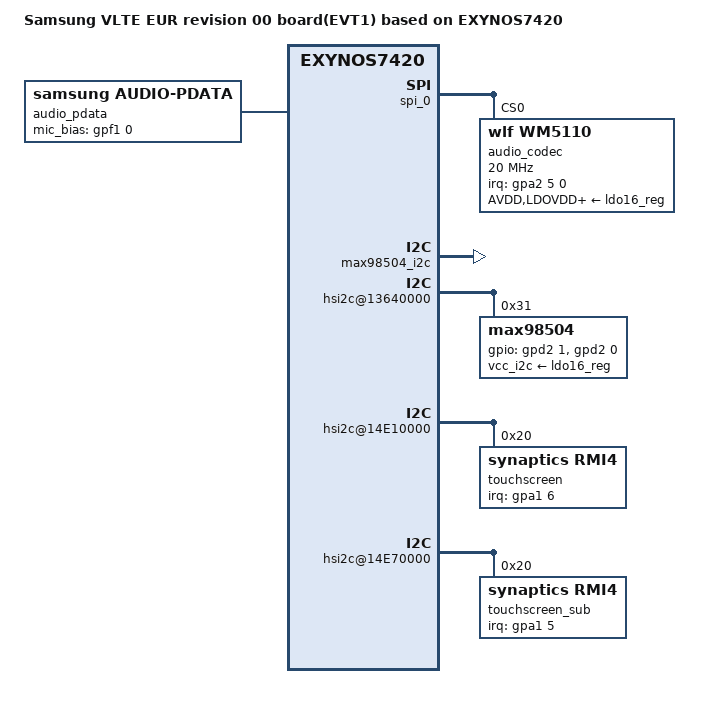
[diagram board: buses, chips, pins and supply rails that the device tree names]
/*
 * SAMSUNG UNIVERSAL7420 board device tree source
 *
 * Copyright (c) 2014 Samsung Electronics Co., Ltd.
 *		http://www.samsung.com
 *
 * This program is free software; you can redistribute it and/or modify
 * it under the terms of the GNU General Public License version 2 as
 * published by the Free Software Foundation.
*/

/dts-v1/;
#include "exynos7420-v_common.dtsi"
#include "exynos7420-zerolte_battery.dtsi"
/ {
	model = "Samsung VLTE EUR revision 00 board(EVT1) based on EXYNOS7420";
	model_info-chip = <7420>;
	model_info-platform = "android";
	model_info-subtype = "samsung";
	model_info-hw_rev = <0>;
	model_info-hw_rev_end = <255>;
	compatible = "samsung,V LTE EVT1 EUR,r00", "samsung,exynos7420";

	spi_0: spi@14d20000 {
		/delete-property/ dma-mode;
		/delete-property/ dmas;
		/delete-property/ dma-names;

		num-cs = <1>;
		status = "okay";

		audio_codec: wm5110@0 {
			compatible = "wlf,wm5110";
			reg = <0x0>;
			spi-max-frequency = <20000000>;
			interrupts = <5 0 0>;
			interrupt-parent = <&gpa2>;

			gpio-controller;
			#gpio-cells = <2>;

			pinctrl-names ="default";
			pinctrl-0 = <&codec_reset &codec_ldoena &audio_ctrl &codec_irq>;

			wlf,reset = <&gpf4 0 0>;
			wlf,ldoena = <&gpf5 7 0>;
			wlf,init-mic-delay = <30>;
			wlf,micd-detect-debounce = <300>;
			wlf,micd-pol-gpio = <0>;
			wlf,micd-bias-start-time = <0x1>;
			wlf,micd-rate = <0x7>;
			wlf,micd-dbtime = <0x1>;
			wlf,micd-timeout = <1000>;
			wlf,micd-force-micbias;
			wlf,hpdet-moisture-imp = <2000>;
			wlf,hpdet-channel = <1>;
			wlf,hpdet-ext-res = <59>;
			wlf,hpdet-short-circuit-imp = <3>;
			wlf,micd-ranges = <
				139 226
				295 115
				752 114
				1257 217
			>;

			wlf,micd-configs = <
				0x0 1 0
			>;

			wlf,micbias1 = <2800 0 1 0 0>;
			wlf,micbias2 = <1800 0 1 0 0>;
			wlf,micbias3 = <1800 0 1 0 0>;

			wlf,gpio-defaults = <
				0xA101
				0xA101
				0xA101
				0xA101
				0x8101
			>;

			wlf,gpsw = <0x3>;
			wlf,use-jd-gpio;
			wlf,jd-gpio-nopull;
			wlf,micd-software-compare;
			wlf,micd-open-circuit-declare = <1>;
			wlf,jd-wake-time = <5000>;

			wlf,max-channels-clocked = <2 0 0>;
			/* 0:MICVDD 1:MICBIAS1 2:MICBIAS2 3:MICBIAS3 */
			wlf,dmic-ref = <2 1 3 0>;
			/* 1st cell:IN1 2rd cell:IN2 3nd cell:IN3 4th cell:IN4 */
			wlf,inmode = <2 0 2 0>;
			/* 1st cell:OUT1 2nd cell:OUT2 3rd cell:OUT3... 6th cell:OUT6 */
			wlf,out-mono = <0 1 1 0 0 0>;

			AVDD-supply = <&ldo16_reg>;
			LDOVDD-supply = <&ldo16_reg>;
			DBVDD1-supply = <&ldo16_reg>;

			CPVDD-supply = <&ldo16_reg>;
			DBVDD2-supply = <&ldo16_reg>;
			DBVDD3-supply = <&ldo16_reg>;
			SPKVDDL-supply = <&ldo16_reg>;
			SPKVDDR-supply = <&ldo16_reg>;

			adsps {
				#address-cells = <1>;
				#size-cells = <0>;

				adsp@1100 {
					reg = <0x1100>;
					firmware {
						EDAC {
							wlf,wmfw-file = "edac";
							wlf,bin-file = "edac";
						};
						TRACE {
							wlf,wmfw-file = "trace";
							wlf,bin-file = "None";
							wlf,compr-caps = <1 8 0x4 1 8000 16000 24000>;
						};
					};
				};
				adsp@1200 {
					reg = <0x1200>;
					firmware {
						TX_NB {
							wlf,wmfw-file = "tx-nb";
							wlf,bin-file = "None";
						};
						TX_WB {
							wlf,wmfw-file = "tx-wb";
							wlf,bin-file = "None";
						};
						TX_SWB_INTERVIEW {
							wlf,wmfw-file = "tx-swb";
							wlf,bin-file = "None";
						};
						TX_SWB_CONVERSATION {
							wlf,wmfw-file = "tx-swb";
							wlf,bin-file = "None";
						};
						TX_FB_MEETING {
							wlf,wmfw-file = "tx-fb-meeting";
							wlf,bin-file = "tx-fb-meeting";
						};
					};
				};
				adsp@1300 {
					reg = <0x1300>;
					firmware {
						TX_NB {
							wlf,wmfw-file = "tx-nb";
							wlf,bin-file = "tx-nb";
						};
						TX_WB {
							wlf,wmfw-file = "tx-wb";
							wlf,bin-file = "tx-wb";
						};
						TX_SWB_INTERVIEW {
							wlf,wmfw-file = "tx-swb";
							wlf,bin-file = "tx-swb-interview";
						};
						TX_SWB_CONVERSATION {
							wlf,wmfw-file = "tx-swb";
							wlf,bin-file = "tx-swb-conversation";
						};
						TX_WB_MEETING {
							wlf,wmfw-file = "tx-wb-meeting";
							wlf,bin-file = "tx-wb-meeting";
						};

						VOICECONTROL {
							wlf,wmfw-file = "ez2-control";
							wlf,bin-file = "ez2-control";
							wlf,compr-caps = <1 1 0x4 1 16000>;
						};
						LPSD {
							wlf,wmfw-file = "ez2-control";
							wlf,bin-file = "lpsd-control";
						};
					};
				};
				adsp@1400 {
					reg = <0x1400>;
					firmware {
						DSM {
							wlf,wmfw-file = "dsm";
							wlf,bin-file = "None";
						};
						RX_NB {
							wlf,wmfw-file = "rx-anc-nb";
							wlf,bin-file = "rx-anc-nb";
						};
						RX_WB {
							wlf,wmfw-file = "rx-anc-wb";
							wlf,bin-file = "rx-anc-wb";
						};
					};
				};
			};
			controller-data {
				cs-gpio = <&gpd8 1 0>;
				samsung,spi-feedback-delay = <0>;
			};
		};
	};

	sound {
		samsung,audio-routing =
				"HDMIL", "AIF1RX1",
				"HDMIR", "AIF1RX2",
				"HDMI", "HDMIL",
				"HDMI", "HDMIR",
				"HP", "HPOUT1L",
				"HP", "HPOUT1R",
				"SPK", "HPOUT2L",
				"SPK", "HPOUT2R",
				"VPS", "HPOUT2L",
				"VPS", "HPOUT2R",
				"RCV", "HPOUT3L",
				"RCV", "HPOUT3R",
				"IN1R", "Main Mic",
				"Main Mic", "MICBIAS2",
				"Headset Mic", "MICBIAS1",
				"IN2R", "Headset Mic",
				"Sub Mic", "MICBIAS3",
				"IN3L", "Sub Mic",
				"Third Mic", "MICBIAS2",
				"Third Mic", "MICBIAS3",
				"IN3R", "Third Mic",
				"VI SENSING", "MICVDD",
				"IN4R", "VI SENSING",
				"IN4L", "VI SENSING";
	};

	audio_pdata {
		compatible = "samsung,audio-pdata";

		mic_bias_gpio = <&gpf1 0 0>;
		seamless_voicewakeup;
		status = "okay";
	};

	pinctrl@10580000 {
		codec_irq: codec-irq {
			samsung,pins = "gpa2-5";
			samsung,pin-function = <0xf>;
			samsung,pin-pud = <0>;
		};
		max98504_ctrl: max98504-ctl {
			samsung,pins ="gpa2-0";
			samsung,pin-function = <0>;
			samsung,pin-pud = <0>;
			samsung,pin-con-pdn =<2>;
			samsung,pin-pud-pdn = <0>;
		};
	};

	pinctrl@13470000 {
		max98504_i2c: max98504-i2c {
			samsung,pins = "gpd2-0", "gpd2-1";
			samsung,pin-pud = <0>;
			status = "okay";
		};
	};


	pinctrl@14870000 {
		audio_ctrl: audio-ctl {
			samsung,pins ="gpf1-0";
			samsung,pin-con-pdn =<3>;
		};
		codec_reset: codec-reset {
			samsung,pins ="gpf4-0";
			samsung,pin-function = <1>;
			samsung,pin-pud = <1>;
			samsung,pin-con-pdn =<3>;
			samsung,pin-pud-pdn = <1>;
			samsung,pin-val = <0>;
		};
		codec_ldoena: codec-ldoena {
			samsung,pins ="gpf5-7";
			samsung,pin-function = <1>;
			samsung,pin-pud = <1>;
			samsung,pin-con-pdn =<3>;
			samsung,pin-pud-pdn = <1>;
			samsung,pin-val = <1>;
		};
	};

	hsi2c@13640000 {
		status = "okay";
		max98504@31 {
			compatible = "max98504";
			reg = <0x31>;
			pinctrl-names = "default";
			pinctrl-0 = <&max98504_i2c &max98504_ctrl>;
			gpios = <&gpd2 1 0
				&gpd2 0 0
				>;
			i2c-gpio,delay-us = <2>;
			vcc_i2c-supply = <&ldo16_reg>;
			max98504,rx_mode = <1>;
			max98504,tx_mode = <1>;
			max98504,cfg_data = <0 0 0 0 0 3 0 2 0 0>;
		};
	};

    /* SSAM */
	pinctrl@13470000 {
		mem_i2c: mem-i2c {
		    samsung,pins = "gpd0-0", "gpd0-1";
		    samsung,pin-pud = <0>;
		};
    };

	pinctrl@14870000 {
		cam_i2c: cam_i2c {
		    samsung,pins = "gpf5-2", "gpf5-3";
		    samsung,pin-pud = <0>;
		};
    };

	pinctrl@15690000 {
		grip_i2c: grip_i2c {
		    samsung,pins = "gpr2-3", "gpr2-4";
		    samsung,pin-pud = <0>;
		};
		
	    touch_i2c: touch_i2c {
		    samsung,pins = "gpr2-1", "gpr3-3";
		    samsung,pin-pud = <0>;
		};
    };


	pinctrl@10580000 {
		/* MAIN TSP*/
		attn_irq: attn-irq {
			samsung,pins = "gpa1-6";
			samsung,pin-function = <0xf>;
			samsung,pin-pud = <0>;
			samsung,pin-drv = <0>;
		};
		attn_input: attn-input {
			samsung,pins = "gpa1-6";
			samsung,pin-function = <0>;
			samsung,pin-pud = <1>;
			samsung,pin-drv = <0>;
		};

		/* SUB TSP*/
		attn_irq_sub: attn-irq-sub {
			samsung,pins = "gpa1-5";
			samsung,pin-function = <0xf>;
			samsung,pin-pud = <0>;
			samsung,pin-drv = <0>;
		};

		attn_input_sub: attn-input-sub {
			samsung,pins = "gpa1-5";
			samsung,pin-function = <0>;
			samsung,pin-pud = <1>;
			samsung,pin-drv = <0>;
		};

	};

/*
	pinctrl@14CC0000 {
		hs_i2c2_bus: hs-i2c2-bus {
			samsung,pins = "gpd0-2", "gpd0-3";
			samsung,pin-pud = <0>;
			samsung,pin-drv = <0>;
			samsung,pin-con-pdn = <2>;
			samsung,pin-pud-pdn = <1>;
		};
	};

	pinctrl@14CE0000 {
		hs_i2c5_bus: hs-i2c5-bus {
			samsung,pins = "gpj1-1", "gpj1-0";
			samsung,pin-pud = <0>;
			samsung,pin-drv = <0>;
			samsung,pin-con-pdn = <2>;
			samsung,pin-pud-pdn = <1>;
		};
	};
*/

	/* HSIC7 */
	hsi2c@14E10000 {
		samsung,i2c-sda-delay = <100>;
		samsung,i2c-max-bus-freq = <400000>;
		status = "okay";
		touchscreen@20 {
			compatible = "synaptics,rmi4";
			reg = <0x20>;
			pinctrl-names = "on_state", "off_state";
			pinctrl-0 = <&attn_irq>;
			pinctrl-1 = <&attn_input>;
			synaptics,irq_gpio = <&gpa1 6 0>;
			synaptics,irq_type = <8200>;
			synaptics,max_coords = <1079 1919>;	/* x y */
			synaptics,num_lines = <28 16>;		/* rx tx */
			synaptics,regulator_dvdd = "tsp_io_en";
			synaptics,regulator_avdd = "tsp_avdd";
			synaptics,project_name = "V";
		};
	};

	/* HSIC3 */
	hsi2c@14E70000 {
		samsung,i2c-sda-delay = <100>;
		samsung,i2c-max-bus-freq = <400000>;
		status = "okay";
		touchscreen_sub@20 {
			compatible = "synaptics,rmi4";
			reg = <0x20>;
			pinctrl-names = "on_state", "off_state";
			pinctrl-0 = <&attn_irq_sub>;
			pinctrl-1 = <&attn_input_sub>;
			synaptics,irq_gpio = <&gpa1 5 0>;
			synaptics,irq_type = <8200>;
			synaptics,max_coords = <1079 1919>;	/* x y */
			synaptics,num_lines = <28 16>;		/* rx tx */
			synaptics,regulator_dvdd = "tsp_io_en_sub";
			synaptics,regulator_avdd = "tsp_avdd_sub";
			synaptics,project_name = "V";
			synaptics,device_num = <2>;	/* sub */
		};
	};

};
